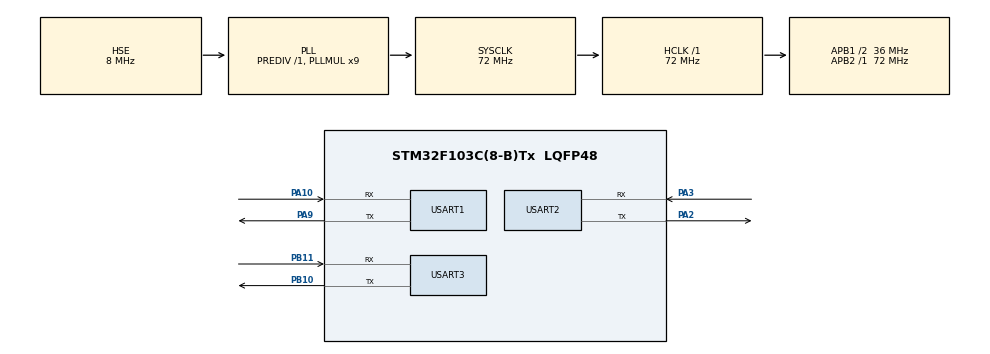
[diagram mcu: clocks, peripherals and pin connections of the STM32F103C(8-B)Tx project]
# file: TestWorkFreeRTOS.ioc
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FREERTOS.Queues01=LogQueue,8,uint32_t,0,Dynamic,NULL,NULL;UartLeftQueue,128,uint8_t,0,Dynamic,NULL,NULL;UartRightQueue,128,uint8_t,0,Dynamic,NULL,NULL;DispQueue,128,uint8_t,0,Dynamic,NULL,NULL
FREERTOS.Tasks01=DispatcherTask,0,256,StartDispacherTask,Default,NULL,Dynamic,NULL,NULL;LogTask,-2,512,StartLogTask,Default,NULL,Dynamic,NULL,NULL;UARTLeftTask,-2,128,StartUARTLeftTask,Default,NULL,Dynamic,NULL,NULL;UARTRightTask,-2,128,StartUARTRightTask,Default,NULL,Dynamic,NULL,NULL
FREERTOS.configTOTAL_HEAP_SIZE=8192
FREERTOS.configUSE_PREEMPTION=0
Mcu.Family=STM32F1
Mcu.Name=STM32F103C(8-B)Tx
Mcu.Package=LQFP48
NVIC.PriorityGroup=NVIC_PRIORITYGROUP_4
NVIC.TIM4_IRQn=true\:15\:0\:false\:false\:true\:false\:false\:true\:true
NVIC.TimeBase=TIM4_IRQn
NVIC.TimeBaseIP=TIM4
NVIC.USART1_IRQn=true\:5\:0\:false\:false\:true\:true\:true\:true\:true
NVIC.USART2_IRQn=true\:5\:0\:false\:false\:true\:true\:true\:true\:true
NVIC.USART3_IRQn=true\:5\:0\:false\:false\:true\:true\:true\:true\:true
PA10.Mode=Asynchronous
PA10.Signal=USART1_RX
PA13.Mode=Serial_Wire
PA13.Signal=SYS_JTMS-SWDIO
PA14.Mode=Serial_Wire
PA14.Signal=SYS_JTCK-SWCLK
PA2.Mode=Asynchronous
PA2.Signal=USART2_TX
PA3.Mode=Asynchronous
PA3.Signal=USART2_RX
PA9.Mode=Asynchronous
PA9.Signal=USART1_TX
PB10.Mode=Asynchronous
PB10.Signal=USART3_TX
PB11.Mode=Asynchronous
PB11.Signal=USART3_RX
PD0-OSC_IN.Mode=HSE-External-Oscillator
PD0-OSC_IN.Signal=RCC_OSC_IN
PD1-OSC_OUT.Mode=HSE-External-Oscillator
PD1-OSC_OUT.Signal=RCC_OSC_OUT
ProjectManager.HeapSize=0x200
ProjectManager.StackSize=0x400
ProjectManager.TargetToolchain=STM32CubeIDE
RCC.AHBFreq_Value=72000000
RCC.APB1CLKDivider=RCC_HCLK_DIV2
RCC.APB1Freq_Value=36000000
RCC.APB1TimFreq_Value=72000000
RCC.APB2Freq_Value=72000000
RCC.APB2TimFreq_Value=72000000
RCC.EnbaleCSS=true
RCC.HCLKFreq_Value=72000000
RCC.PLLMUL=RCC_PLL_MUL9
RCC.PLLSourceVirtual=RCC_PLLSOURCE_HSE
RCC.SYSCLKFreq_VALUE=72000000
RCC.SYSCLKSource=RCC_SYSCLKSOURCE_PLLCLK
RCC.USBFreq_Value=72000000
USART1.VirtualMode=VM_ASYNC
USART2.VirtualMode=VM_ASYNC
USART3.VirtualMode=VM_ASYNC
VP_FREERTOS_VS_CMSIS_V1.Mode=CMSIS_V1
VP_SYS_VS_tim4.Mode=TIM4
board=custom

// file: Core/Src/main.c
/* USER CODE BEGIN Header */
/**
  ******************************************************************************
  * @file           : main.c
  * @brief          : Main program body
  ******************************************************************************
  * @attention
  *
  * Copyright (c) 2024 STMicroelectronics.
  * All rights reserved.
  *
  * This software is licensed under terms that can be found in the LICENSE file
  * in the root directory of this software component.
  * If no LICENSE file comes with this software, it is provided AS-IS.
  *
  ******************************************************************************
  */
/* USER CODE END Header */
#include "main.h"
#include "cmsis_os.h"
#include "usart.h"
#include "gpio.h"

/* USER CODE BEGIN Includes */
#include "log.h"
/* USER CODE END Includes */

void SystemClock_Config(void);
void MX_FREERTOS_Init(void);

int main(void)
{

  /* MCU Configuration--------------------------------------------------------*/

  /* Reset of all peripherals, Initializes the Flash interface and the Systick. */
  HAL_Init();

  /* Configure the system clock */
  SystemClock_Config();

  /* Initialize all configured peripherals */
  MX_GPIO_Init();
  MX_USART1_UART_Init();
  MX_USART2_UART_Init();
  MX_USART3_UART_Init();

  /* Call init function for freertos objects (in cmsis_os2.c) */
  MX_FREERTOS_Init();

  /* Start scheduler */
  osKernelStart();

  /* We should never get here as control is now taken by the scheduler */

  /* Infinite loop */
  while (1)
  {

  }
}

void SystemClock_Config(void)
{
  RCC_OscInitTypeDef RCC_OscInitStruct = {0};
  RCC_ClkInitTypeDef RCC_ClkInitStruct = {0};

  /** Initializes the RCC Oscillators according to the specified parameters
  * in the RCC_OscInitTypeDef structure.
  */
  RCC_OscInitStruct.OscillatorType = RCC_OSCILLATORTYPE_HSE;
  RCC_OscInitStruct.HSEState = RCC_HSE_ON;
  RCC_OscInitStruct.HSEPredivValue = RCC_HSE_PREDIV_DIV1;
  RCC_OscInitStruct.HSIState = RCC_HSI_ON;
  RCC_OscInitStruct.PLL.PLLState = RCC_PLL_ON;
  RCC_OscInitStruct.PLL.PLLSource = RCC_PLLSOURCE_HSE;
  RCC_OscInitStruct.PLL.PLLMUL = RCC_PLL_MUL9;
  if (HAL_RCC_OscConfig(&RCC_OscInitStruct) != HAL_OK)
  {
    Error_Handler();
  }

  /** Initializes the CPU, AHB and APB buses clocks
  */
  RCC_ClkInitStruct.ClockType = RCC_CLOCKTYPE_HCLK|RCC_CLOCKTYPE_SYSCLK
                              |RCC_CLOCKTYPE_PCLK1|RCC_CLOCKTYPE_PCLK2;
  RCC_ClkInitStruct.SYSCLKSource = RCC_SYSCLKSOURCE_PLLCLK;
  RCC_ClkInitStruct.AHBCLKDivider = RCC_SYSCLK_DIV1;
  RCC_ClkInitStruct.APB1CLKDivider = RCC_HCLK_DIV2;
  RCC_ClkInitStruct.APB2CLKDivider = RCC_HCLK_DIV1;

  if (HAL_RCC_ClockConfig(&RCC_ClkInitStruct, FLASH_LATENCY_2) != HAL_OK)
  {
    Error_Handler();
  }

  /** Enables the Clock Security System
  */
  HAL_RCC_EnableCSS();
}

void HAL_TIM_PeriodElapsedCallback(TIM_HandleTypeDef *htim)
{
  if (htim->Instance == TIM4) {
    HAL_IncTick();
  }
}

void Error_Handler(void)
{
  __disable_irq();
  while (1)
  {
  }
}

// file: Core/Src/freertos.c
/* USER CODE BEGIN Header */
/**
  ******************************************************************************
  * File Name          : freertos.c
  * Description        : Code for freertos applications
  ******************************************************************************
  * @attention
  *
  * Copyright (c) 2024 STMicroelectronics.
  * All rights reserved.
  *
  * This software is licensed under terms that can be found in the LICENSE file
  * in the root directory of this software component.
  * If no LICENSE file comes with this software, it is provided AS-IS.
  *
  ******************************************************************************
  */
/* USER CODE END Header */

#include "FreeRTOS.h"
#include "task.h"
#include "main.h"
#include "cmsis_os.h"

/* USER CODE BEGIN Includes */
#include <stdio.h>
#include "parser.h"
#include "set_get.h"
#include "log.h"
#include "bsp.h"
/* USER CODE END Includes */

/* USER CODE BEGIN PM */
osPoolDef (LogMem, 8, log_message_t);
osPoolId  LogMemHandle;
osMessageQDef(LogQueue, 8, uint8_t);
osMessageQId  LogQueue;
/* USER CODE END PM */

osThreadId DispatcherTaskHandle;
osThreadId LogTaskHandle;
osThreadId UARTLeftTaskHandle;
osThreadId UARTRightTaskHandle;
osMessageQId LogQueueHandle;
osMessageQId UartLeftQueueHandle;
osMessageQId UartRightQueueHandle;
osMessageQId DispQueueHandle;

void StartDispacherTask(void const * argument);
void StartLogTask(void const * argument);
void StartUARTLeftTask(void const * argument);
void StartUARTRightTask(void const * argument);

void MX_FREERTOS_Init(void); /* (MISRA C 2004 rule 8.1) */

/* GetIdleTaskMemory prototype (linked to static allocation support) */
void vApplicationGetIdleTaskMemory( StaticTask_t **ppxIdleTaskTCBBuffer, StackType_t **ppxIdleTaskStackBuffer, uint32_t *pulIdleTaskStackSize );

/* USER CODE BEGIN GET_IDLE_TASK_MEMORY */
static StaticTask_t xIdleTaskTCBBuffer;
static StackType_t xIdleStack[configMINIMAL_STACK_SIZE];

void vApplicationGetIdleTaskMemory( StaticTask_t **ppxIdleTaskTCBBuffer, StackType_t **ppxIdleTaskStackBuffer, uint32_t *pulIdleTaskStackSize )
{
  *ppxIdleTaskTCBBuffer = &xIdleTaskTCBBuffer;
  *ppxIdleTaskStackBuffer = &xIdleStack[0];
  *pulIdleTaskStackSize = configMINIMAL_STACK_SIZE;
  /* place for user code */
}
/* USER CODE END GET_IDLE_TASK_MEMORY */

void MX_FREERTOS_Init(void) {

  /* Create the queue(s) */
  /* definition and creation of LogQueue */
  osMessageQDef(LogQueue, 8, uint32_t);
  LogQueueHandle = osMessageCreate(osMessageQ(LogQueue), NULL);

  /* definition and creation of UartLeftQueue */
  osMessageQDef(UartLeftQueue, 128, uint8_t);
  UartLeftQueueHandle = osMessageCreate(osMessageQ(UartLeftQueue), NULL);

  /* definition and creation of UartRightQueue */
  osMessageQDef(UartRightQueue, 128, uint8_t);
  UartRightQueueHandle = osMessageCreate(osMessageQ(UartRightQueue), NULL);

  /* definition and creation of DispQueue */
  osMessageQDef(DispQueue, 128, uint8_t);
  DispQueueHandle = osMessageCreate(osMessageQ(DispQueue), NULL);

  /* Create the thread(s) */
  /* definition and creation of DispatcherTask */
  osThreadDef(DispatcherTask, StartDispacherTask, osPriorityNormal, 0, 256);
  DispatcherTaskHandle = osThreadCreate(osThread(DispatcherTask), NULL);

  /* definition and creation of LogTask */
  osThreadDef(LogTask, StartLogTask, osPriorityLow, 0, 512);
  LogTaskHandle = osThreadCreate(osThread(LogTask), NULL);

  /* definition and creation of UARTLeftTask */
  osThreadDef(UARTLeftTask, StartUARTLeftTask, osPriorityAboveNormal, 0, 128);
  UARTLeftTaskHandle = osThreadCreate(osThread(UARTLeftTask), NULL);

  /* definition and creation of UARTRightTask */
  osThreadDef(UARTRightTask, StartUARTRightTask, osPriorityAboveNormal, 0, 128);
  UARTRightTaskHandle = osThreadCreate(osThread(UARTRightTask), NULL);

  /* USER CODE BEGIN RTOS_THREADS */
  LogMemHandle = osPoolCreate(osPool(LogMem));
  get_set_log_pool_id(LogMemHandle);

  get_set_log_queue_id(LogQueueHandle);
  get_set_dispatcher_queue_id(DispQueueHandle);
  get_set_uart_left_queue_id(UartLeftQueueHandle);
  get_set_uart_right_queue_id(UartRightQueueHandle);

  get_set_mem_log_thread_id(LogTaskHandle);
  get_set_uart_left_thread_id(UARTLeftTaskHandle);
  get_set_uart_right_thread_id(UARTRightTaskHandle);

  /* add threads, ... */
  /* USER CODE END RTOS_THREADS */

}

void StartDispacherTask(void const * argument)
{
  /* USER CODE BEGIN StartDispacherTask */
	osEvent  queue_evt;
	init_isr_uarts();
	//log_Queue_put(LOG_INFO, (uint8_t *)" ");
	log_Queue_put(LOG_INFO, (uint8_t *)"Start work, you can send:");
	log_Queue_put(LOG_INFO, (uint8_t *)"LEFT SEND:\"SOME_DATA\"");
	log_Queue_put(LOG_INFO, (uint8_t *)"RIGHT SEND:\"SOME_DATA\"");
  /* Infinite loop */
	for(;;) {
		queue_evt = osMessageGet(DispQueueHandle, osWaitForever);
		if (queue_evt.status == osEventMessage){
			command_parser((uint8_t)queue_evt.value.p);
		}
	}
  /* USER CODE END StartDispacherTask */
}

void StartLogTask(void const * argument)
{
  /* USER CODE BEGIN StartLogTask */
	osEvent  queue_evt;
	osEvent  signal_evt;
  /* Infinite loop */
	for(;;) {
		queue_evt = osMessageGet(LogQueueHandle, osWaitForever);
		if (queue_evt.status == osEventMessage) {
			log_print_from_Queue(queue_evt.value.p);
		}
		signal_evt = osSignalWait (LOG_SIGNAL_TX, osWaitForever);
		if(signal_evt.status == osEventSignal) {
			osPoolFree(LogMemHandle, queue_evt.value.p);
		}
	}
  /* USER CODE END StartLogTask */
}

void StartUARTLeftTask(void const * argument)
{
  /* USER CODE BEGIN StartUARTLeftTask */
	static uint8_t test_str[50];
	status_t result;
	osEvent  queue_evt;
  /* Infinite loop */
	for(;;) {
		queue_evt = osMessageGet(UartLeftQueueHandle, osWaitForever);
		if (queue_evt.status == osEventMessage) {
			result = bsp_transmit_uart_right((uint8_t)queue_evt.value.p);
			if (result == BSP_OK) {
				sprintf((char *)test_str, "OK GET DATA LEFT=%x", (uint8_t)queue_evt.value.p);
			} else {
				sprintf((char *)test_str, "FALL GET DATA LEFT=%x", (uint8_t)queue_evt.value.p);
			}
		log_Queue_put(LOG_INFO, test_str);
	}
	osSignalWait(UART_RIGHT_SIGNAL_TX, osWaitForever); // wait until send
  }
  /* USER CODE END StartUARTLeftTask */
}

void StartUARTRightTask(void const * argument)
{
  /* USER CODE BEGIN StartUARTRightTask */
	static uint8_t test_str[50];
	status_t result;
	osEvent  queue_evt;
  /* Infinite loop */
	for(;;) {
		queue_evt = osMessageGet(UartRightQueueHandle, osWaitForever);
		if (queue_evt.status == osEventMessage) {
			result = bsp_transmit_uart_left((uint8_t)queue_evt.value.p);
		  	if (result == BSP_OK) {
		  		sprintf((char *)test_str, "OK GET DATA RIGHT=%x", (uint8_t)queue_evt.value.p);
		  	} else {
		  		sprintf((char *)test_str, "FALL GET DATA RIGHT=%x", (uint8_t)queue_evt.value.p);
		  	}
		  	log_Queue_put(LOG_INFO, test_str);
		  }
		osSignalWait (UART_LEFT_SIGNAL_TX, osWaitForever); // wait until send
	}
  /* USER CODE END StartUARTRightTask */
}
